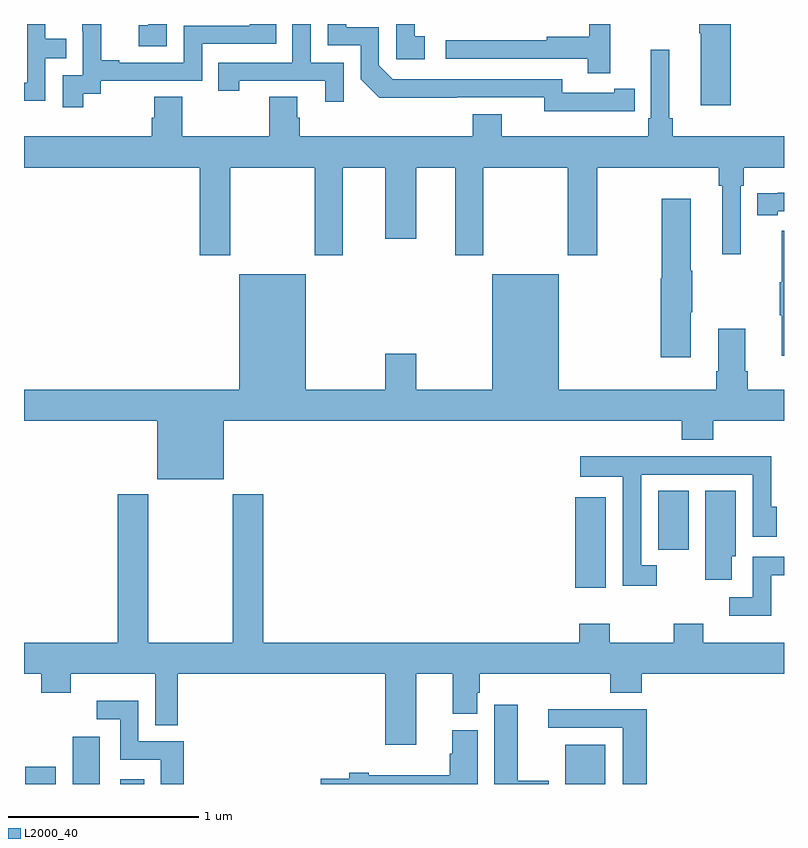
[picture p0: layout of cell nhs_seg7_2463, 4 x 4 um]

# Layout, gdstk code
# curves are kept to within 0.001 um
import gdstk
lib = gdstk.Library(unit=1e-6, precision=1e-09)
def R(c, l, rs):  # rectangles x0, y0, x1, y1
    for r in rs: c.add(gdstk.rectangle(r[:2], r[2:], *l))
def P(c, l, *ps):  # polygons
    for p in ps: c.add(gdstk.Polygon(p, *l))
L2000_40 = (2000, 40)

nhs_seg7_2463 = lib.new_cell('nhs_seg7_2463')
R(nhs_seg7_2463, L2000_40, [(271.007,1036,271.168,1036.092), (271.256,1036,271.399,1036.249), (271.506,1036,271.633,1036.024), (273.848,1036,274.06,1036.207), (273.902,1037.034,274.063,1037.509), (274.337,1037.232,274.498,1037.543)])
P(nhs_seg7_2463, L2000_40, [(274.106,1039.542),(274.214,1039.542),(274.214,1039.658),(274.106,1039.658),(274.106,1039.638),(273.834,1039.638),(273.834,1039.71),(272.94,1039.71),(272.868,1039.782),(272.868,1039.983),(272.695,1039.983),(272.695,1040),(272.598,1040),(272.598,1039.887),(272.772,1039.887),(272.772,1039.71),(272.87,1039.613),(273.738,1039.614),(273.738,1039.541)],
  [(274.721,1040),(274.555,1040),(274.555,1039.951),(274.562,1039.951),(274.562,1039.572),(274.721,1039.572)],
  [(271.312,1039.632),(271.404,1039.632),(271.404,1039.701),(271.938,1039.701),(271.938,1039.896),(272.327,1039.896),(272.327,1040),(272.187,1040),(272.187,1039.992),(271.842,1039.992),(271.842,1039.797),(271.501,1039.797),(271.501,1039.81),(271.406,1039.81),(271.406,1040),(271.307,1040),(271.307,1039.961),(271.308,1039.961),(271.308,1039.731),(271.203,1039.731),(271.203,1039.563),(271.312,1039.563)],
  [(271.113,1039.821),(271.223,1039.821),(271.223,1039.922),(271.113,1039.922),(271.113,1040),(271.017,1040),(271.017,1039.692),(271,1039.692),(271,1039.596),(271.113,1039.596)],
  [(273.109,1039.935),(273.056,1039.935),(273.056,1040),(272.958,1040),(272.958,1039.815),(273.109,1039.815)],
  [(274.085,1040),(273.975,1040),(273.975,1039.934),(273.751,1039.934),(273.751,1039.914),(273.219,1039.914),(273.219,1039.818),(273.967,1039.818),(273.967,1039.74),(274.085,1039.74)],
  [(271.752,1040),(271.654,1040),(271.654,1039.993),(271.605,1039.993),(271.605,1039.884),(271.752,1039.884)],
  [(272.682,1039.797),(272.508,1039.797),(272.508,1040),(272.412,1040),(272.412,1039.797),(272.023,1039.797),(272.023,1039.65),(272.134,1039.65),(272.134,1039.701),(272.585,1039.701),(272.585,1039.59),(272.682,1039.59)],
  [(272.085,1039.244),(272.53,1039.244),(272.53,1038.783),(272.677,1038.783),(272.677,1039.244),(272.9,1039.244),(272.9,1038.87),(273.064,1038.87),(273.064,1039.244),(273.269,1039.244),(273.269,1038.783),(273.417,1038.783),(273.417,1039.244),(273.862,1039.244),(273.862,1038.783),(274.017,1038.783),(274.017,1039.244),(274.657,1039.244),(274.657,1039.148),(274.676,1039.148),(274.676,1038.789),(274.773,1038.789),(274.773,1039.148),(274.787,1039.148),(274.787,1039.244),(275,1039.244),(275,1039.408),(274.415,1039.408),(274.415,1039.504),(274.396,1039.504),(274.396,1039.864),(274.299,1039.864),(274.299,1039.504),(274.286,1039.504),(274.286,1039.408),(273.514,1039.408),(273.514,1039.525),(273.362,1039.525),(273.362,1039.408),(272.45,1039.408),(272.45,1039.506),(272.437,1039.506),(272.437,1039.616),(272.29,1039.616),(272.29,1039.408),(271.833,1039.408),(271.833,1039.616),(271.685,1039.616),(271.685,1039.506),(271.673,1039.506),(271.673,1039.408),(271,1039.408),(271,1039.244),(271.925,1039.244),(271.925,1038.783),(272.085,1038.783)],
  [(274.966,1039.014),(275,1039.014),(275,1039.111),(274.966,1039.111),(274.966,1039.11),(274.858,1039.11),(274.858,1038.994),(274.966,1038.994)],
  [(274.51,1038.484),(274.518,1038.484),(274.518,1038.701),(274.51,1038.701),(274.51,1039.081),(274.357,1039.081),(274.357,1038.663),(274.352,1038.663),(274.352,1038.246),(274.51,1038.246)],
  [(275,1038.913),(274.988,1038.913),(274.988,1038.641),(274.977,1038.641),(274.977,1038.467),(274.988,1038.467),(274.988,1038.255),(275,1038.255)],
  [(272.05,1037.912),(274.463,1037.912),(274.463,1037.813),(274.628,1037.813),(274.628,1037.912),(275,1037.912),(275,1038.076),(274.808,1038.076),(274.808,1038.172),(274.795,1038.172),(274.795,1038.397),(274.655,1038.397),(274.655,1038.172),(274.643,1038.172),(274.643,1038.076),(273.814,1038.076),(273.814,1038.682),(273.464,1038.682),(273.464,1038.076),(273.064,1038.076),(273.064,1038.265),(272.9,1038.265),(272.9,1038.076),(272.482,1038.076),(272.482,1038.682),(272.132,1038.682),(272.132,1038.076),(271,1038.076),(271,1037.912),(271.7,1037.912),(271.7,1037.603),(272.05,1037.603)],
  [(274.33,1037.151),(274.248,1037.151),(274.248,1037.628),(274.836,1037.628),(274.836,1037.301),(274.963,1037.301),(274.963,1037.46),(274.932,1037.46),(274.932,1037.726),(274.711,1037.726),(274.711,1037.724),(274.345,1037.724),(274.345,1037.726),(273.927,1037.726),(273.927,1037.618),(274.152,1037.618),(274.152,1037.043),(274.33,1037.043)],
  [(274.726,1037.199),(274.747,1037.199),(274.747,1037.543),(274.586,1037.543),(274.586,1037.076),(274.726,1037.076)],
  [(273.064,1036.58),(273.257,1036.58),(273.257,1036.369),(273.385,1036.369),(273.385,1036.479),(273.398,1036.479),(273.398,1036.58),(274.085,1036.58),(274.085,1036.481),(274.25,1036.481),(274.25,1036.58),(275,1036.58),(275,1036.744),(274.575,1036.744),(274.575,1036.843),(274.42,1036.843),(274.42,1036.744),(274.083,1036.744),(274.083,1036.843),(273.923,1036.843),(273.923,1036.744),(272.258,1036.744),(272.258,1037.524),(272.098,1037.524),(272.098,1036.744),(271.653,1036.744),(271.653,1037.524),(271.493,1037.524),(271.493,1036.744),(271,1036.744),(271,1036.58),(271.09,1036.58),(271.09,1036.481),(271.245,1036.481),(271.245,1036.58),(271.691,1036.58),(271.691,1036.309),(271.81,1036.309),(271.81,1036.58),(272.9,1036.58),(272.9,1036.206),(273.064,1036.206)],
  [(274.932,1037.1),(275,1037.1),(275,1037.196),(274.836,1037.196),(274.836,1036.983),(274.713,1036.983),(274.713,1036.886),(274.932,1036.886)],
  [(271.84,1036.224),(271.602,1036.224),(271.602,1036.438),(271.383,1036.438),(271.383,1036.341),(271.506,1036.341),(271.506,1036.128),(271.721,1036.128),(271.721,1036),(271.84,1036)],
  [(273.763,1036.018),(273.598,1036.018),(273.598,1036.417),(273.476,1036.417),(273.476,1036),(273.763,1036)],
  [(274.277,1036.394),(273.759,1036.394),(273.759,1036.296),(274.151,1036.296),(274.151,1036),(274.277,1036)],
  [(273.388,1036.284),(273.254,1036.284),(273.254,1036.16),(273.242,1036.16),(273.242,1036.045),(272.815,1036.045),(272.815,1036.058),(272.711,1036.058),(272.711,1036.028),(272.562,1036.028),(272.562,1036),(273.388,1036)])

lib.write_gds('nhs_seg7_2463.gds')
